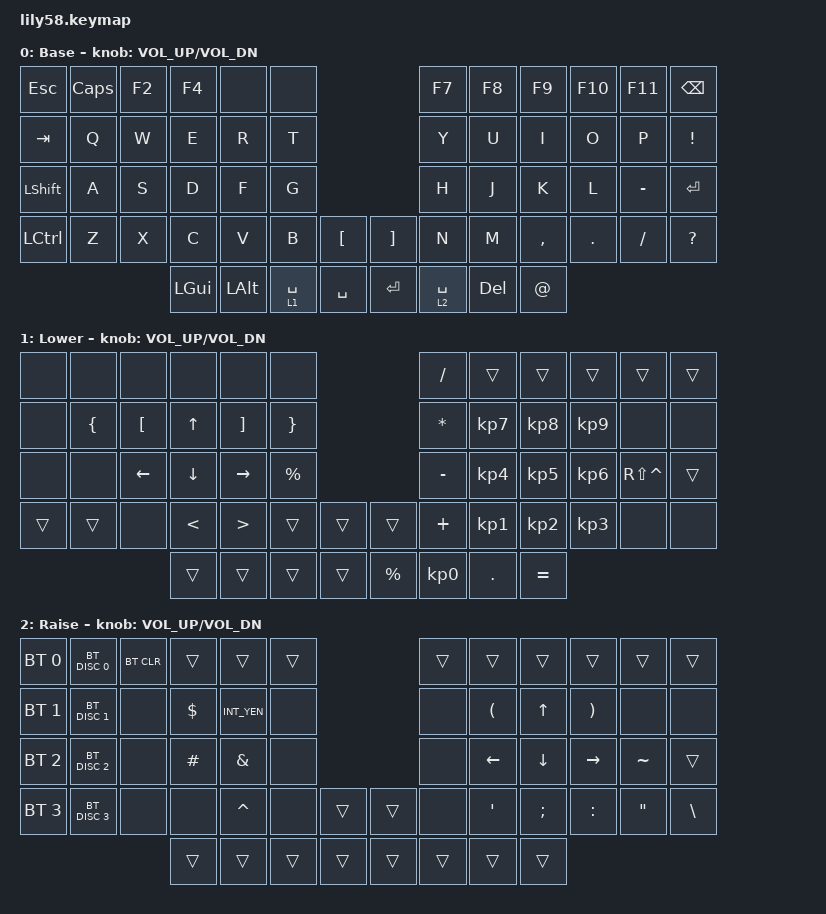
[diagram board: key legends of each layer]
/*
 * Copyright (c) 2020 The ZMK Contributors
 *
 * SPDX-License-Identifier: MIT
 */

#include <behaviors.dtsi>
#include <dt-bindings/zmk/bt.h>
#include <dt-bindings/zmk/keys.h>

/ {
    keymap {
        compatible = "zmk,keymap";

        default_layer {
            // ------------------------------------------------------------------------------------------------------------
            // |  ESC  |  1  |  2  |  3   |  4   |  5   |                   |  6   |  7    |  8    |  9   |   0   |   `   |
            // |  TAB  |  Q  |  W  |  E   |  R   |  T   |                   |  Y   |  U    |  I    |  O   |   P   |   -   |
            // |  CTRL |  A  |  S  |  D   |  F   |  G   |                   |  H   |  J    |  K    |  L   |   ;   |   '   |
            // | SHIFT |  Z  |  X  |  C   |  V   |  B   |   "["  |  |  "]"  |  N   |  M    |  ,    |  .   |   /   | SHIFT |
            //                     | ALT  | GUI  | LOWER|  SPACE |  | ENTER | RAISE| BSPC  | GUI   |

            display-name = "Base";
            bindings = <
&kp ESC           &kp CAPS  &kp F2  &kp F4        &none         &none                               &kp F7       &kp F8   &kp F9       &kp F10  &kp F11    &kp BACKSPACE
&kp TAB           &kp Q     &kp W   &kp E         &kp R         &kp T                               &kp Y        &kp U    &kp I        &kp O    &kp P      &kp EXCLAMATION
&kp LEFT_SHIFT    &kp A     &kp S   &kp D         &kp F         &kp G                               &kp H        &kp J    &kp K        &kp L    &kp MINUS  &kp ENTER
&kp LEFT_CONTROL  &kp Z     &kp X   &kp C         &kp V         &kp B        &kp LBKT     &kp RBKT  &kp N        &kp M    &kp COMMA    &kp DOT  &kp FSLH   &kp QUESTION
                                    &kp LEFT_GUI  &kp LEFT_ALT  &lt 1 SPACE  &kp SPACE    &kp RET   &lt 2 SPACE  &kp DEL  &kp AT_SIGN
            >;

            sensor-bindings = <&inc_dec_kp C_VOL_UP C_VOL_DN>;
        };

        lower_layer {
            // ------------------------------------------------------------------------------------------------------------
            // | BTCLR | BT1 | BT2 |  BT3 |  BT4 |  BT5 |                   |      |       |       |      |       |       |
            // |  F1   |  F2 |  F3 |  F4  |  F5  |  F6  |                   |  F7  |  F8   |  F9   |  F10 |  F11  |  F12  |
            // |   `   |  !  |  @  |  #   |  $   |  %   |                   |  ^   |  &    |  *    |  (   |   )   |   ~   |
            // |       |     |     |      |      |      |        |  |       |      |  _    |  +    |  {   |   }   |  "|"  |
            //                     |      |      |      |        |  |       |      |       |       |

            display-name = "Lower";
            bindings = <
&none   &none           &none             &none           &none              &none                                   &kp SLASH        &trans           &trans           &trans           &trans         &trans
&none   &kp LEFT_BRACE  &kp LEFT_BRACKET  &kp UP_ARROW    &kp RIGHT_BRACKET  &kp RIGHT_BRACE                         &kp ASTERISK     &kp KP_NUMBER_7  &kp KP_NUMBER_8  &kp KP_NUMBER_9  &none          &none
&none   &none           &kp LEFT_ARROW    &kp DOWN_ARROW  &kp RIGHT          &kp PRCNT                               &kp MINUS        &kp KP_NUMBER_4  &kp KP_NUMBER_5  &kp KP_NUMBER_6  &kp RS(CARET)  &trans
&trans  &trans          &none             &kp LESS_THAN   &kp GREATER_THAN   &trans           &trans    &trans       &kp PLUS         &kp KP_NUMBER_1  &kp KP_NUMBER_2  &kp KP_NUMBER_3  &none          &none
                                          &trans          &trans             &trans           &trans    &kp PERCENT  &kp KP_NUMBER_0  &kp PERIOD       &kp EQUAL
            >;

            sensor-bindings = <&inc_dec_kp C_VOL_UP C_VOL_DN>;
        };

        raise_layer {
            // ------------------------------------------------------------------------------------------------------------
            // |       |     |     |      |      |      |                   |      |       |       |      |       |       |
            // |   `   |  1  |  2  |  3   |  4   |  5   |                   |  6   |   7   |   8   |  9   |   0   |       |
            // |   F1  |  F2 |  F3 |  F4  |  F5  |  F6  |                   |      |   <-  |   v   |  ^   |  ->   |       |
            // |   F7  |  F8 |  F9 |  F10 |  F11 |  F12 |        |  |       |  +   |   -   |   =   |  [   |   ]   |   \   |
            //                     |      |      |      |        |  |       |      |       |       |

            display-name = "Raise";
            bindings = <
&bt BT_SEL 0  &bt BT_DISC 0  &bt BT_CLR  &trans      &trans         &trans                    &trans  &trans                &trans         &trans                 &trans             &trans
&bt BT_SEL 1  &bt BT_DISC 1  &none       &kp DOLLAR  &kp INT_YEN    &none                     &none   &kp LEFT_PARENTHESIS  &kp UP_ARROW   &kp RIGHT_PARENTHESIS  &none              &none
&bt BT_SEL 2  &bt BT_DISC 2  &none       &kp HASH    &kp AMPERSAND  &none                     &none   &kp LEFT              &kp DOWN       &kp RIGHT_ARROW        &kp TILDE          &trans
&bt BT_SEL 3  &bt BT_DISC 3  &none       &none       &kp CARET      &none   &trans    &trans  &none   &kp SQT               &kp SEMICOLON  &kp COLON              &kp DOUBLE_QUOTES  &kp BSLH
                                         &trans      &trans         &trans  &trans    &trans  &trans  &trans                &trans
            >;

            sensor-bindings = <&inc_dec_kp C_VOL_UP C_VOL_DN>;
        };

        extra_1 { status = "reserved"; };

        extra_2 { status = "reserved"; };

        extra_3 { status = "reserved"; };
    };
};
